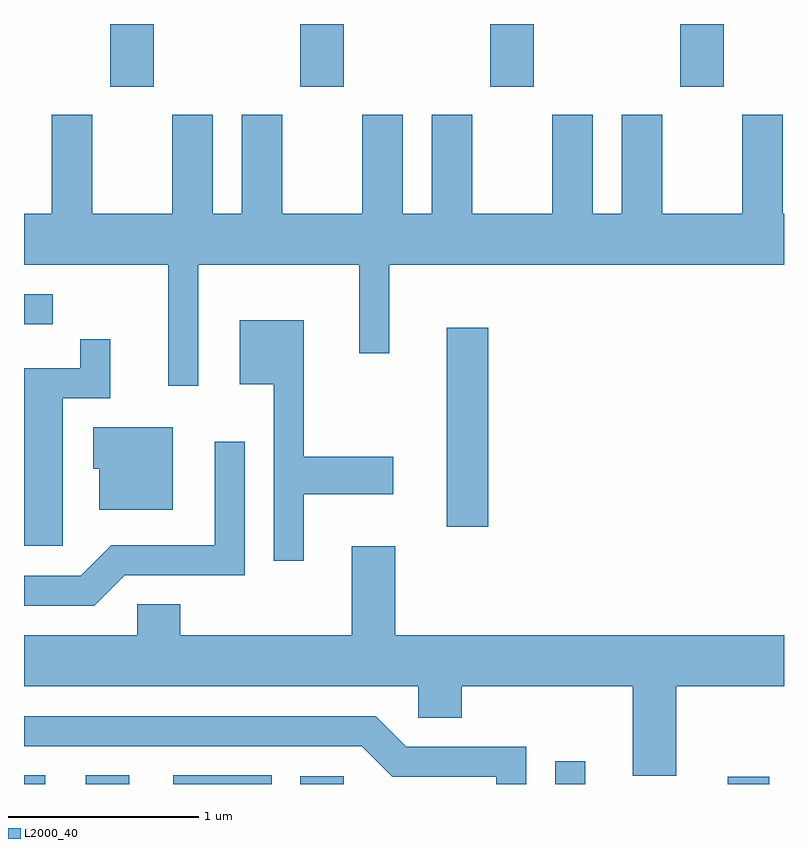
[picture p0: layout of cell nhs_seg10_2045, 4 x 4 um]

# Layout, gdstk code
import gdstk
lib = gdstk.Library(unit=1e-6, precision=1e-09)
def R(c, l, rs):  # rectangles x0, y0, x1, y1
    for r in rs: c.add(gdstk.rectangle(r[:2], r[2:], *l))
def A(c, l, x, y, w, h, nx, ny, dx, dy):  # array of equal rectangles
    R(c, l, [(x+i*dx, y+j*dy, x+i*dx+w, y+j*dy+h) for i in range(nx) for j in range(ny)])
def P(c, l, *ps):  # polygons
    for p in ps: c.add(gdstk.Polygon(p, *l))
L2000_40 = (2000, 40)

nhs_seg10_2045 = lib.new_cell('nhs_seg10_2045')
A(nhs_seg10_2045, L2000_40, 246.066, 2108.191, 0.228, 0.331, 4, 1, 1, 0)
R(nhs_seg10_2045, L2000_40, [(245.611,2104.522,245.724,2104.569), (245.936,2104.522,246.164,2104.569), (246.396,2104.522,246.914,2104.569), (247.066,2104.522,247.294,2104.564), (248.406,2104.522,248.564,2104.643), (249.316,2104.522,249.534,2104.559), (247.836,2105.876,248.054,2106.924), (245.611,2106.941,245.763,2107.099)])
P(nhs_seg10_2045, L2000_40, [(246.529,2107.256),(247.376,2107.256),(247.376,2106.788),(247.534,2106.788),(247.534,2107.256),(249.611,2107.256),(249.611,2107.524),(249.604,2107.524),(249.604,2108.044),(249.391,2108.044),(249.391,2107.524),(248.969,2107.524),(248.969,2108.044),(248.756,2108.044),(248.756,2107.524),(248.604,2107.524),(248.604,2108.044),(248.391,2108.044),(248.391,2107.524),(247.969,2107.524),(247.969,2108.044),(247.756,2108.044),(247.756,2107.524),(247.604,2107.524),(247.604,2108.044),(247.391,2108.044),(247.391,2107.524),(246.969,2107.524),(246.969,2108.044),(246.756,2108.044),(246.756,2107.524),(246.604,2107.524),(246.604,2108.044),(246.391,2108.044),(246.391,2107.524),(245.969,2107.524),(245.969,2108.044),(245.756,2108.044),(245.756,2107.524),(245.611,2107.524),(245.611,2107.256),(246.371,2107.256),(246.371,2106.618),(246.529,2106.618)],
  [(247.084,2106.046),(247.554,2106.046),(247.554,2106.244),(247.084,2106.244),(247.084,2106.964),(246.746,2106.964),(246.746,2106.626),(246.926,2106.626),(246.926,2105.698),(247.084,2105.698)],
  [(245.814,2106.551),(246.064,2106.551),(246.064,2106.863),(245.906,2106.863),(245.906,2106.709),(245.611,2106.709),(245.611,2105.776),(245.814,2105.776)],
  [(246.394,2106.399),(245.976,2106.399),(245.976,2106.181),(246.006,2106.181),(246.006,2105.966),(246.394,2105.966)],
  [(246.142,2105.621),(246.774,2105.621),(246.774,2106.323),(246.616,2106.323),(246.616,2105.779),(246.069,2105.779),(245.909,2105.619),(245.611,2105.619),(245.611,2105.461),(245.982,2105.461)],
  [(249.044,2105.036),(249.611,2105.036),(249.611,2105.304),(247.564,2105.304),(247.564,2105.774),(247.336,2105.774),(247.336,2105.304),(246.434,2105.304),(246.434,2105.469),(246.206,2105.469),(246.206,2105.304),(245.611,2105.304),(245.611,2105.036),(247.686,2105.036),(247.686,2104.871),(247.914,2104.871),(247.914,2105.036),(248.816,2105.036),(248.816,2104.566),(249.044,2104.566)],
  [(248.254,2104.719),(247.622,2104.719),(247.462,2104.879),(245.611,2104.879),(245.611,2104.721),(247.389,2104.721),(247.549,2104.561),(248.096,2104.561),(248.096,2104.522),(248.254,2104.522)])

lib.write_gds('nhs_seg10_2045.gds')
